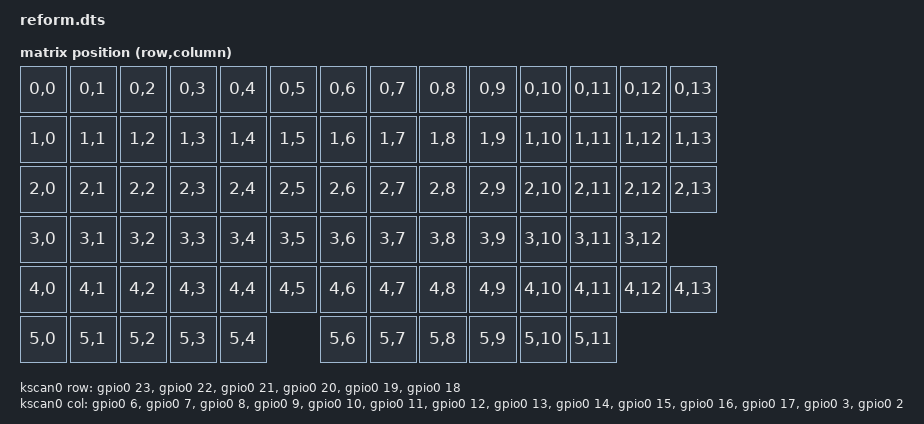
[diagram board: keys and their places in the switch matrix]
/dts-v1/;

#include <rpi_pico/rp2040.dtsi>
#include <dt-bindings/led/led.h>
#include <dt-bindings/zmk/matrix_transform.h>
#include "reform-pinctrl.dtsi"

/ {

    chosen {
        zephyr,sram = &sram0;
        zephyr,flash = &flash0;
        zephyr,flash-controller = &ssi;
        zephyr,code-partition = &code_partition;
        zephyr,display = &oled;

        zmk,kscan = &kscan0;
        zmk,matrix-transform = &default_transform;
        zmk,underglow = &led_strip;
    };

    aliases {
        watchdog0 = &wdt0;
    };

    xtal_clk: xtal-clk {
        compatible = "fixed-clock";
        clock-frequency = <12000000>;
        #clock-cells = <0>;
    };

    default_transform: keymap_transform_0 {
        compatible = "zmk,matrix-transform";
        columns = <14>;
        rows = <6>;

//  ------- Switch Matrix ----------
//
//  Column     0   |    1  |    2  |    3  |    4  |    5  |    6  |    7  |    8  |    9  |    10  |    11  |    12  |    13  |
//        =====================================================================================================================|
//  Row 0 ||   S0  |   S1  |   S2  |   S3  |   S4  |   S5  |   S6  |   S7  |   S8  |   S9  |   S10  |   S11  |   S12  |   S13  |
//  Row 1 ||   S0  |   S1  |   S2  |   S3  |   S4  |   S5  |   S6  |   S7  |   S8  |   S9  |   S10  |   S11  |   S12  |   S13  |
//  Row 2 ||   S0  |   S1  |   S2  |   S3  |   S4  |   S5  |   S6  |   S7  |   S8  |   S9  |   S10  |   S11  |   S12  |   S13  |
//  Row 3 ||   S0  |   S1  |   S2  |   S3  |   S4  |   S5  |   S6  |   S7  |   S8  |   S9  |   S10  |   S11  |   S12  |        |
//  Row 4 ||   S0  |   S1  |   S2  |   S3  |   S4  |   S5  |   S6  |   S7  |   S8  |   S9  |   S10  |   S11  |   S12  |   S13  |
//  Row 5 ||   S0  |   S1  |   S2  |   S3  |   S4  |       |   S5  |   S6  |   S7  |   S8  |   S9   |   S10  |        |        |
//        ----------------------------------------------------------------------------------------------------------------------
        map = <
            RC(0,0) RC(0,1) RC(0,2) RC(0,3) RC(0,4) RC(0,5) RC(0,6) RC(0,7) RC(0,8) RC(0,9) RC(0,10) RC(0,11) RC(0,12) RC(0,13)
            RC(1,0) RC(1,1) RC(1,2) RC(1,3) RC(1,4) RC(1,5) RC(1,6) RC(1,7) RC(1,8) RC(1,9) RC(1,10) RC(1,11) RC(1,12) RC(1,13)
            RC(2,0) RC(2,1) RC(2,2) RC(2,3) RC(2,4) RC(2,5) RC(2,6) RC(2,7) RC(2,8) RC(2,9) RC(2,10) RC(2,11) RC(2,12) RC(2,13)
            RC(3,0) RC(3,1) RC(3,2) RC(3,3) RC(3,4) RC(3,5) RC(3,6) RC(3,7) RC(3,8) RC(3,9) RC(3,10) RC(3,11) RC(3,12)
            RC(4,0) RC(4,1) RC(4,2) RC(4,3) RC(4,4) RC(4,5) RC(4,6) RC(4,7) RC(4,8) RC(4,9) RC(4,10) RC(4,11) RC(4,12) RC(4,13)
            RC(5,0) RC(5,1) RC(5,2) RC(5,3) RC(5,4)         RC(5,6) RC(5,7) RC(5,8) RC(5,9) RC(5,10) RC(5,11)
        >;
    };

    kscan0: kscan {
        compatible = "zmk,kscan-gpio-matrix";

        diode-direction = "col2row";
        row-gpios
            = <&gpio0 23 (GPIO_ACTIVE_HIGH | GPIO_PULL_DOWN)>
            , <&gpio0 22 (GPIO_ACTIVE_HIGH | GPIO_PULL_DOWN)>
            , <&gpio0 21 (GPIO_ACTIVE_HIGH | GPIO_PULL_DOWN)>
            , <&gpio0 20 (GPIO_ACTIVE_HIGH | GPIO_PULL_DOWN)>
            , <&gpio0 19 (GPIO_ACTIVE_HIGH | GPIO_PULL_DOWN)>
            , <&gpio0 18 (GPIO_ACTIVE_HIGH | GPIO_PULL_DOWN)>
            ;
        col-gpios
            = <&gpio0 6  GPIO_ACTIVE_HIGH>
            , <&gpio0 7  GPIO_ACTIVE_HIGH>
            , <&gpio0 8  GPIO_ACTIVE_HIGH>
            , <&gpio0 9  GPIO_ACTIVE_HIGH>
            , <&gpio0 10 GPIO_ACTIVE_HIGH>
            , <&gpio0 11 GPIO_ACTIVE_HIGH>
            , <&gpio0 12 GPIO_ACTIVE_HIGH>
            , <&gpio0 13 GPIO_ACTIVE_HIGH>
            , <&gpio0 14 GPIO_ACTIVE_HIGH>
            , <&gpio0 15 GPIO_ACTIVE_HIGH>
            , <&gpio0 16 GPIO_ACTIVE_HIGH>
            , <&gpio0 17 GPIO_ACTIVE_HIGH>
            , <&gpio0 3  GPIO_ACTIVE_HIGH>
            , <&gpio0 2  GPIO_ACTIVE_HIGH>
            ;
    };
};


&flash0 {
    reg = <0x10000000 DT_SIZE_M(4)>;

    partitions {
        compatible = "fixed-partitions";
        #address-cells = <1>;
        #size-cells = <1>;

        /* Reserved memory for the second stage bootloader */
        second_stage_bootloader: partition@0 {
            reg = <0x00000000 0x100>;
            read-only;
        };

        /*
         * Usable flash. Starts at 0x100, after the bootloader. The partition
         * size is 4MB minus the 0x100 bytes taken by the bootloader.
         */
        code_partition: partition@100 {
            reg = <0x100 (DT_SIZE_M(4) - 0x100)>;
            read-only;
        };
    };
};

/* should be some way to set this
&xosc {
    startup-delay-multiplier = <64>;
};
*/

&gpio0 {
    status = "okay";
};


&wdt0 {
    status = "okay";
};


zephyr_udc0: &usbd {
  status = "okay";
};


&uart1 {
    current-speed = <115200>;
    status = "disabled";
    pinctrl-0 = <&uart1_default>;
    pinctrl-names = "default";
};


&vreg {
    regulator-always-on;
    regulator-allowed-modes = <REGULATOR_RPI_PICO_MODE_NORMAL>;
};


&i2c0 {
      status = "okay";
      pinctrl-0 = <&i2c0_default>;
      pinctrl-names = "default";
      clock-frequency = <I2C_BITRATE_STANDARD>;

      oled: ssd1306@3c {
          compatible = "solomon,ssd1306fb";
          reg = <0x3c>;
          width = <128>;
          height = <32>;
          segment-offset = <0>;
          page-offset = <0>;
          display-offset = <0>;
          multiplex-ratio = <31>;
          segment-remap;
          com-invdir;
          com-sequential;
          inversion-on;
          prechargep = <0x22>;
      };
};


&pio0 {
    status = "okay";

    pio-ws2812 {
        status = "okay";
        compatible = "worldsemi,ws2812-rpi_pico-pio";
        pinctrl-0 = <&ws2812_pio0_default>;
        pinctrl-names = "default";
        bit-waveform = <3>, <3>, <4>;

        led_strip: ws28122 {
            status = "okay";
            gpios = <&gpio0 24 GPIO_ACTIVE_HIGH>;
            chain-length = <80>;
            color-mapping = <LED_COLOR_ID_GREEN
            LED_COLOR_ID_RED
            LED_COLOR_ID_BLUE>;
            reset-delay = <280>;
            frequency = <800000>;
        };
    };
};
